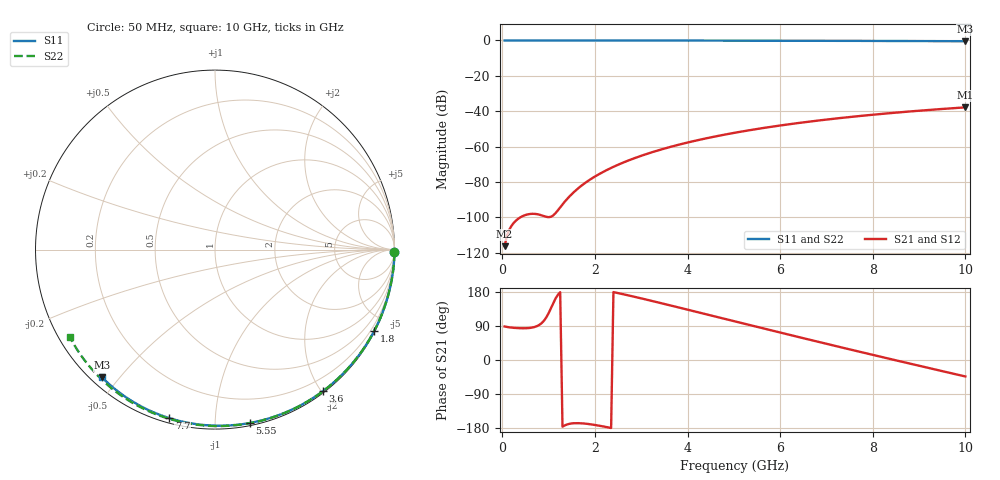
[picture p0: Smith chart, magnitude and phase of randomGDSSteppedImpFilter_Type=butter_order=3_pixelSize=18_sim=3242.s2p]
! freq	dB(S11)	phase(S11)	dB(S12)	phase(S12)
!  dB(S21)	phase(S21)	dB(S22)	phase(S22)
!S-par simulation data
#  GHz  S  DB  R 50
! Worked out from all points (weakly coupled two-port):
!   200 points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, 50 MHz to 10 GHz, reference 50 ohm
!   highest |S21| = -37.83 dB at 10 GHz (marker M1); lowest = -116.3 dB at 50 MHz (marker M2)
!   lowest |S11| = -0.4 dB at 10 GHz (marker M3), VSWR 39.16, Z = 1.54 - j22.5 ohm
!   |S11| at or under -10 dB: nowhere
!   |S22| runs from -0.5 to 0.0 dB; largest |S21 - S12| = 0
!   S11 on the Smith chart (normalised r, x): 50 MHz: open; 1.8 GHz: 0.04, -4.17; 3.6 GHz: 0.02, -2.02; 5.55 GHz: 0.02, -1.22; 7.7 GHz: 0.02, -0.77; 10 GHz: 0.03, -0.45
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0.05  -0.00 -0.8  -116.31 88.5  -116.31 88.5  -0.00 -0.9
0.45  -0.01 -6.8  -99.18 83.7  -99.18 83.7  -0.01 -7.8
0.9  -0.02 -13.6  -99.32 103.7  -99.32 103.7  -0.02 -15.5
1.3  -0.02 -19.6  -92.70 -176.0  -92.70 -176.0  -0.03 -22.3
1.75  -0.03 -26.2  -81.30 -167.4  -81.30 -167.4  -0.04 -29.9
1.8  -0.03 -26.9  -80.34 -168.0  -80.34 -168.0  -0.04 -30.7
1.85  -0.04 -27.7  -79.44 -168.7  -79.44 -168.7  -0.04 -31.5
2  -0.04 -29.9  -76.94 -171.4  -76.94 -171.4  -0.04 -34.0
2.15  -0.04 -32.1  -74.71 -174.6  -74.71 -174.6  -0.05 -36.5
2.5  -0.05 -37.1  -70.28 176.6  -70.28 176.6  -0.05 -42.2
2.9  -0.06 -42.9  -66.13 165.5  -66.13 165.5  -0.06 -48.7
3.4  -0.07 -49.9  -61.88 150.9  -61.88 150.9  -0.07 -56.7
3.6  -0.07 -52.7  -60.39 144.9  -60.39 144.9  -0.08 -59.8
4.3  -0.09 -62.3  -55.92 123.8  -55.92 123.8  -0.10 -70.6
5.05  -0.11 -72.2  -52.04 101.1  -52.04 101.1  -0.13 -81.8
5.55  -0.13 -78.7  -49.85 86.0  -49.85 86.0  -0.15 -89.0
6.1  -0.15 -85.7  -47.71 69.5  -47.71 69.5  -0.17 -96.8
6.7  -0.18 -93.1  -45.66 51.6  -45.66 51.6  -0.20 -105.1
7.7  -0.24 -105.1  -42.76 22.2  -42.76 22.2  -0.27 -118.6
8.35  -0.29 -112.7  -41.15 3.4  -41.15 3.4  -0.32 -127.2
9.2  -0.36 -122.5  -39.31 -20.9  -39.31 -20.9  -0.41 -138.4
10  -0.44 -131.5  -37.83 -43.5  -37.83 -43.5  -0.50 -148.9
